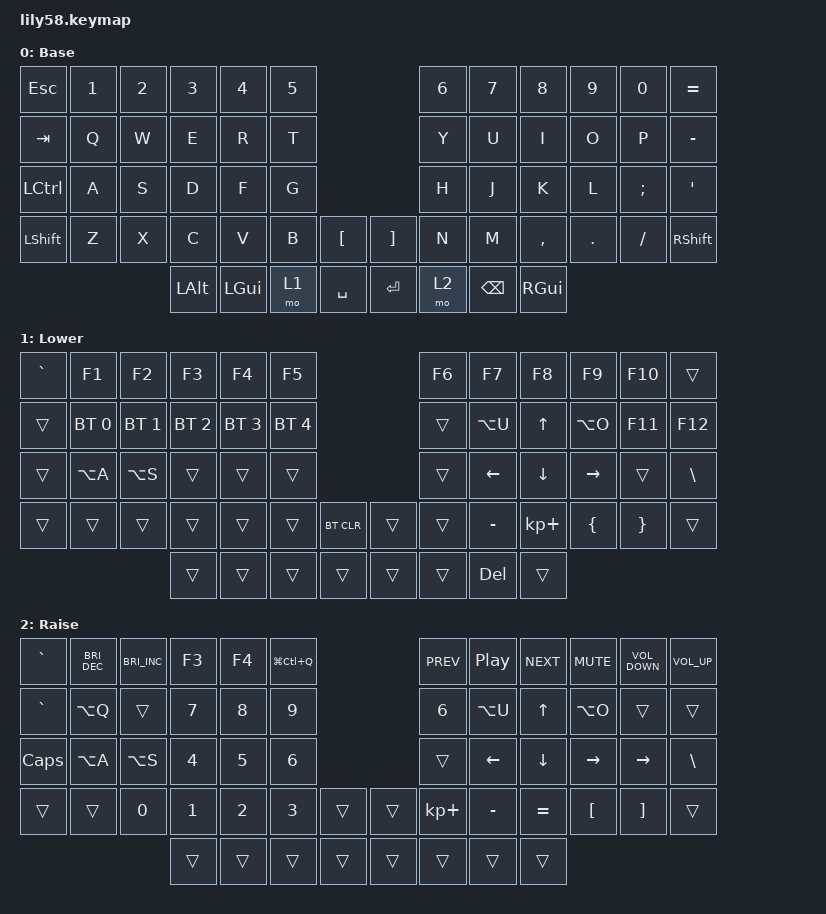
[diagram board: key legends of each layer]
/*
 * Copyright (c) 2020 The ZMK Contributors
 *
 * SPDX-License-Identifier: MIT
 */

#include <behaviors.dtsi>
#include <dt-bindings/zmk/bt.h>
#include <dt-bindings/zmk/keys.h>

/ {
    keymap {
        compatible = "zmk,keymap";

        default_layer {
            // ------------------------------------------------------------------------------------------------------------
            // |  ESC  |  1  |  2  |  3   |  4   |  5   |                   |  6   |  7    |  8    |  9   |   0   |   `   |
            // |  TAB  |  Q  |  W  |  E   |  R   |  T   |                   |  Y   |  U    |  I    |  O   |   P   |   -   |
            // |  CTRL |  A  |  S  |  D   |  F   |  G   |                   |  H   |  J    |  K    |  L   |   ;   |   '   |
            // | SHIFT |  Z  |  X  |  C   |  V   |  B   |   "["  |  |  "]"  |  N   |  M    |  ,    |  .   |   /   | SHIFT |
            //                     | ALT  | GUI  | LOWER|  SPACE |  | ENTER | RAISE| BSPC  | GUI   |

            display-name = "Base";
            bindings = <
&kp ESC    &kp N1  &kp N2  &kp N3    &kp N4    &kp N5                         &kp N6  &kp N7    &kp N8     &kp N9   &kp N0    &kp EQUAL
&kp TAB    &kp Q   &kp W   &kp E     &kp R     &kp T                          &kp Y   &kp U     &kp I      &kp O    &kp P     &kp MINUS
&kp LCTRL  &kp A   &kp S   &kp D     &kp F     &kp G                          &kp H   &kp J     &kp K      &kp L    &kp SEMI  &kp SQT
&kp LSHFT  &kp Z   &kp X   &kp C     &kp V     &kp B   &kp LBKT     &kp RBKT  &kp N   &kp M     &kp COMMA  &kp DOT  &kp FSLH  &kp RSHFT
                           &kp LALT  &kp LGUI  &mo 1   &kp SPACE    &kp RET   &mo 2   &kp BSPC  &kp RGUI
            >;
        };

        lower_layer {
            // ------------------------------------------------------------------------------------------------------------
            // | BTCLR | BT1 | BT2 |  BT3 |  BT4 |  BT5 |                   |      |       |       |      |       |       |
            // |  F1   |  F2 |  F3 |  F4  |  F5  |  F6  |                   |  F7  |  F8   |  F9   |  F10 |  F11  |  F12  |
            // |   `   |  !  |  @  |  #   |  $   |  %   |                   |  ^   |  &    |  *    |  (   |   )   |   ~   |
            // |       |     |     |      |      |      |        |  |       |      |  _    |  +    |  {   |   }   |  "|"  |
            //                     |      |      |      |        |  |       |      |       |       |

            display-name = "Lower";
            bindings = <
&kp GRAVE  &kp F1        &kp F2        &kp F3        &kp F4        &kp F5                              &kp F6  &kp F7      &kp F8        &kp F9     &kp F10   &trans
&trans     &bt BT_SEL 0  &bt BT_SEL 1  &bt BT_SEL 2  &bt BT_SEL 3  &bt BT_SEL 4                        &trans  &kp LA(U)   &kp UP_ARROW  &kp LA(O)  &kp F11   &kp F12
&trans     &kp LA(A)     &kp LA(S)     &trans        &trans        &trans                              &trans  &kp LEFT    &kp DOWN      &kp RIGHT  &trans    &kp BACKSLASH
&trans     &trans        &trans        &trans        &trans        &trans        &bt BT_CLR    &trans  &trans  &kp MINUS   &kp KP_PLUS   &kp LBRC   &kp RBRC  &trans
                                       &trans        &trans        &trans        &trans        &trans  &trans  &kp DELETE  &trans
            >;
        };

        raise_layer {
            // ------------------------------------------------------------------------------------------------------------
            // |       |     |     |      |      |      |                   |      |       |       |      |       |       |
            // |   `   |  1  |  2  |  3   |  4   |  5   |                   |  6   |   7   |   8   |  9   |   0   |       |
            // |   F1  |  F2 |  F3 |  F4  |  F5  |  F6  |                   |      |   <-  |   v   |  ^   |  ->   |       |
            // |   F7  |  F8 |  F9 |  F10 |  F11 |  F12 |        |  |       |  +   |   -   |   =   |  [   |   ]   |   \   |
            //                     |      |      |      |        |  |       |      |       |       |

            display-name = "Raise";
            bindings = <
&kp GRAVE     &kp C_BRIGHTNESS_DEC  &kp C_BRIGHTNESS_INC  &kp F3        &kp F4        &kp LG(LC(Q))                    &kp C_PREV   &kp C_PLAY_PAUSE  &kp C_NEXT  &kp K_MUTE  &kp C_VOLUME_DOWN  &kp C_VOLUME_UP
&kp GRAVE     &kp LA(Q)             &trans                &kp N7        &kp N8        &kp N9                           &kp N6       &kp LA(U)         &kp UP      &kp LA(O)   &trans             &trans
&kp CAPSLOCK  &kp LA(A)             &kp LA(S)             &kp NUMBER_4  &kp N5        &kp NUMBER_6                     &trans       &kp LEFT          &kp DOWN    &kp RIGHT   &kp RIGHT          &kp BACKSLASH
&trans        &trans                &kp N0                &kp NUMBER_1  &kp NUMBER_2  &kp NUMBER_3   &trans    &trans  &kp KP_PLUS  &kp MINUS         &kp EQUAL   &kp LBKT    &kp RBKT           &trans
                                                          &trans        &trans        &trans         &trans    &trans  &trans       &trans            &trans
            >;
        };

        extra_1 { status = "reserved"; };

        extra_2 { status = "reserved"; };

        extra_3 { status = "reserved"; };
    };
};
